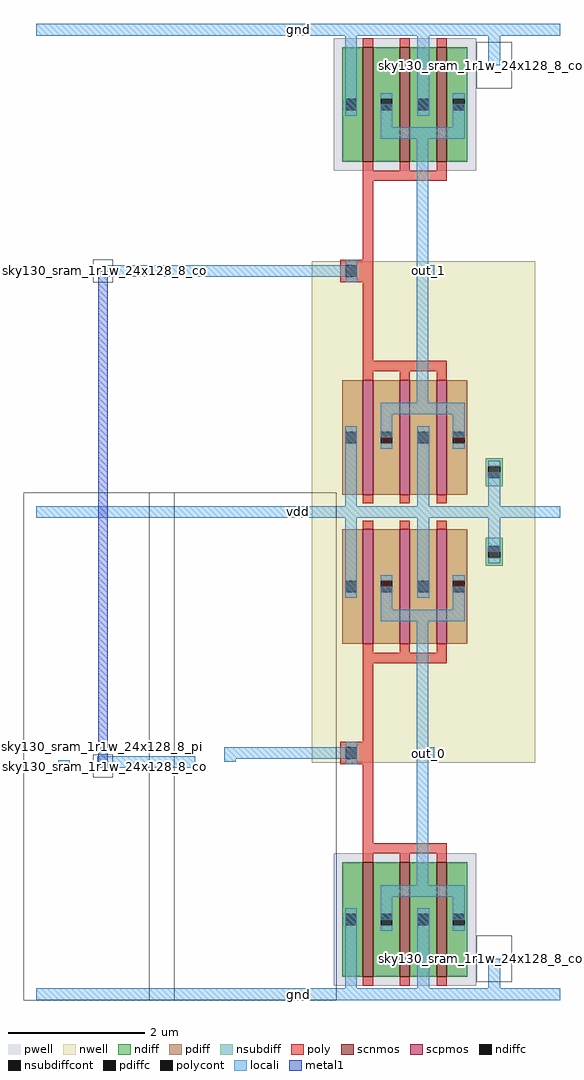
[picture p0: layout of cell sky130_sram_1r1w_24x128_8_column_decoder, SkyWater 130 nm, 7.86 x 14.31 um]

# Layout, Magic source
magic
tech sky130B
magscale 1 2
<< locali >>
rect 0 2828 1536 2862
rect 1133 2121 1167 2155
rect 0 1414 1536 1448
rect 1133 707 1167 741
rect 64 669 98 703
rect 0 0 1536 34
use sky130_sram_1r1w_24x128_8_pinvbuf  sky130_sram_1r1w_24x128_8_pinvbuf_0
transform 1 0 0 0 1 0
box -36 0 1536 2862
<< labels >>
rlabel locali s 81 686 81 686 4 in_0
port 1 nsew
rlabel locali s 1150 724 1150 724 4 out_0
port 2 nsew
rlabel locali s 1150 2138 1150 2138 4 out_1
port 3 nsew
rlabel locali s 768 1431 768 1431 4 vdd
port 4 nsew
rlabel locali s 768 2845 768 2845 4 gnd
port 5 nsew
rlabel locali s 768 17 768 17 4 gnd
port 5 nsew
<< properties >>
string FIXED_BBOX 0 0 1536 2862
<< end >>

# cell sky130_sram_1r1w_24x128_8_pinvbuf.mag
magic
tech sky130B
magscale 1 2
<< locali >>
rect 0 2828 1536 2862
rect 196 2121 925 2155
rect 1133 2121 1167 2155
rect 0 1414 1536 1448
rect 64 669 98 703
rect 179 681 466 715
rect 551 707 942 741
rect 1133 707 1167 741
rect 551 698 585 707
rect 0 0 1536 34
<< metal1 >>
rect 182 686 210 2138
use sky130_sram_1r1w_24x128_8_contact_13  sky130_sram_1r1w_24x128_8_contact_13_0
transform 1 0 167 0 1 653
box 0 0 58 66
use sky130_sram_1r1w_24x128_8_contact_13  sky130_sram_1r1w_24x128_8_contact_13_1
transform 1 0 167 0 1 2105
box 0 0 58 66
use sky130_sram_1r1w_24x128_8_pinv  sky130_sram_1r1w_24x128_8_pinv_0
transform 1 0 0 0 1 17
box -36 -17 404 1471
use sky130_sram_1r1w_24x128_8_pinv_0  sky130_sram_1r1w_24x128_8_pinv_0_0
transform 1 0 368 0 1 17
box -36 -17 512 1471
use sky130_sram_1r1w_24x128_8_pinv_1  sky130_sram_1r1w_24x128_8_pinv_1_0
transform 1 0 844 0 -1 2845
box -36 -17 620 1471
use sky130_sram_1r1w_24x128_8_pinv_1  sky130_sram_1r1w_24x128_8_pinv_1_1
transform 1 0 844 0 1 17
box -36 -17 620 1471
<< labels >>
rlabel locali s 768 1431 768 1431 4 vdd
port 1 nsew
rlabel locali s 768 2845 768 2845 4 gnd
port 2 nsew
rlabel locali s 768 17 768 17 4 gnd
port 2 nsew
rlabel locali s 1150 2138 1150 2138 4 Z
port 3 nsew
rlabel locali s 1150 724 1150 724 4 Zb
port 4 nsew
rlabel locali s 81 686 81 686 4 A
port 5 nsew
<< properties >>
string FIXED_BBOX 0 0 1536 2845
<< end >>

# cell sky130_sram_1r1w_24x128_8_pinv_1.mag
magic
tech sky130B
magscale 1 2
<< nwell >>
rect -36 679 620 1471
<< poly >>
rect 114 740 144 971
rect 81 674 144 740
rect 114 443 144 674
<< locali >>
rect 0 1397 584 1431
rect 62 1162 96 1397
rect 274 1162 308 1397
rect 482 1297 516 1397
rect 64 674 98 740
rect 272 724 306 1128
rect 272 690 323 724
rect 272 286 306 690
rect 62 17 96 186
rect 274 17 308 186
rect 482 17 516 104
rect 0 -17 584 17
use sky130_sram_1r1w_24x128_8_contact_15  sky130_sram_1r1w_24x128_8_contact_15_0
transform 1 0 48 0 1 674
box 0 0 66 66
use sky130_sram_1r1w_24x128_8_contact_28  sky130_sram_1r1w_24x128_8_contact_28_0
transform 1 0 474 0 1 1256
box -59 -43 109 125
use sky130_sram_1r1w_24x128_8_contact_29  sky130_sram_1r1w_24x128_8_contact_29_0
transform 1 0 474 0 1 63
box -26 -26 76 108
use sky130_sram_1r1w_24x128_8_nmos_m3_w1_680_sli_dli_da_p  sky130_sram_1r1w_24x128_8_nmos_m3_w1_680_sli_dli_da_p_0
transform 1 0 54 0 1 51
box -26 -26 392 392
use sky130_sram_1r1w_24x128_8_pmos_m3_w1_680_sli_dli_da_p  sky130_sram_1r1w_24x128_8_pmos_m3_w1_680_sli_dli_da_p_0
transform 1 0 54 0 1 1027
box -59 -56 425 390
<< labels >>
rlabel locali s 81 707 81 707 4 A
port 1 nsew
rlabel locali s 306 707 306 707 4 Z
port 2 nsew
rlabel locali s 292 0 292 0 4 gnd
port 3 nsew
rlabel locali s 292 1414 292 1414 4 vdd
port 4 nsew
<< properties >>
string FIXED_BBOX 0 0 584 1414
<< end >>

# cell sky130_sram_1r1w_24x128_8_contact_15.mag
magic
tech sky130B
<< poly >>
rect 0 25 33 33
rect 0 8 8 25
rect 25 8 33 25
rect 0 0 33 8
<< polycont >>
rect 8 8 25 25
<< locali >>
rect 8 25 25 33
rect 8 0 25 8
<< properties >>
string FIXED_BBOX -10 -10 43 43
<< end >>

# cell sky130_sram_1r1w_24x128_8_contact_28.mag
magic
tech sky130B
magscale 1 2
<< nwell >>
rect -59 -43 109 125
<< nsubdiff >>
rect 0 58 50 82
rect 0 24 8 58
rect 42 24 50 58
rect 0 0 50 24
<< nsubdiffcont >>
rect 8 24 42 58
<< locali >>
rect 8 58 42 74
rect 8 8 42 24
<< properties >>
string FIXED_BBOX -59 -43 109 125
<< end >>

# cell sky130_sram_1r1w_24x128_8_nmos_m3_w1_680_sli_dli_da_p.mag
magic
tech sky130B
magscale 1 2
<< pwell >>
rect -26 -26 392 362
<< scnmos >>
rect 60 0 90 336
rect 168 0 198 336
rect 276 0 306 336
<< ndiff >>
rect 0 0 60 336
rect 90 0 168 336
rect 198 0 276 336
rect 306 0 366 336
<< poly >>
rect 60 362 306 392
rect 60 336 90 362
rect 168 336 198 362
rect 276 336 306 362
rect 60 -26 90 0
rect 168 -26 198 0
rect 276 -26 306 0
<< locali >>
rect 112 235 358 269
rect 8 135 42 201
rect 112 168 146 235
rect 220 135 254 201
rect 324 168 358 235
use sky130_sram_1r1w_24x128_8_contact_10  sky130_sram_1r1w_24x128_8_contact_10_0
transform 1 0 316 0 1 135
box -26 -22 76 88
use sky130_sram_1r1w_24x128_8_contact_10  sky130_sram_1r1w_24x128_8_contact_10_1
transform 1 0 212 0 1 135
box -26 -22 76 88
use sky130_sram_1r1w_24x128_8_contact_10  sky130_sram_1r1w_24x128_8_contact_10_2
transform 1 0 104 0 1 135
box -26 -22 76 88
use sky130_sram_1r1w_24x128_8_contact_10  sky130_sram_1r1w_24x128_8_contact_10_3
transform 1 0 0 0 1 135
box -26 -22 76 88
<< labels >>
rlabel poly s 183 377 183 377 4 G
port 1 nsew
rlabel locali s 237 168 237 168 4 S
port 2 nsew
rlabel locali s 25 168 25 168 4 S
port 2 nsew
rlabel locali s 235 252 235 252 4 D
port 3 nsew
<< properties >>
string FIXED_BBOX -25 -26 391 392
<< end >>

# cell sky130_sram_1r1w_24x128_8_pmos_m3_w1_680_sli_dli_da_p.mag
magic
tech sky130B
magscale 1 2
<< nwell >>
rect -54 -54 420 390
<< scpmos >>
rect 60 0 90 336
rect 168 0 198 336
rect 276 0 306 336
<< pdiff >>
rect 0 0 60 336
rect 90 0 168 336
rect 198 0 276 336
rect 306 0 366 336
<< poly >>
rect 60 336 90 362
rect 168 336 198 362
rect 276 336 306 362
rect 60 -26 90 0
rect 168 -26 198 0
rect 276 -26 306 0
rect 60 -56 306 -26
<< locali >>
rect 8 135 42 201
rect 112 101 146 168
rect 220 135 254 201
rect 324 101 358 168
rect 112 67 358 101
use sky130_sram_1r1w_24x128_8_contact_11  sky130_sram_1r1w_24x128_8_contact_11_0
transform 1 0 316 0 1 135
box -59 -51 109 117
use sky130_sram_1r1w_24x128_8_contact_11  sky130_sram_1r1w_24x128_8_contact_11_1
transform 1 0 212 0 1 135
box -59 -51 109 117
use sky130_sram_1r1w_24x128_8_contact_11  sky130_sram_1r1w_24x128_8_contact_11_2
transform 1 0 104 0 1 135
box -59 -51 109 117
use sky130_sram_1r1w_24x128_8_contact_11  sky130_sram_1r1w_24x128_8_contact_11_3
transform 1 0 0 0 1 135
box -59 -51 109 117
<< labels >>
rlabel poly s 183 -41 183 -41 4 G
port 1 nsew
rlabel locali s 237 168 237 168 4 S
port 2 nsew
rlabel locali s 25 168 25 168 4 S
port 2 nsew
rlabel locali s 235 84 235 84 4 D
port 3 nsew
<< properties >>
string FIXED_BBOX -54 -56 420 390
<< end >>

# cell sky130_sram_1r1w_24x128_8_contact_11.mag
magic
tech sky130B
magscale 1 2
<< nwell >>
rect -59 -51 109 117
<< pdiff >>
rect 0 50 50 62
rect 0 16 8 50
rect 42 16 50 50
rect 0 4 50 16
<< pdiffc >>
rect 8 16 42 50
<< locali >>
rect 8 50 42 66
rect 8 0 42 16
<< properties >>
string FIXED_BBOX -59 -51 109 117
<< end >>

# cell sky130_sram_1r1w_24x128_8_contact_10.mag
magic
tech sky130B
<< pwell >>
rect -13 -11 38 44
<< ndiff >>
rect 0 25 25 31
rect 0 8 4 25
rect 21 8 25 25
rect 0 2 25 8
<< ndiffc >>
rect 4 8 21 25
<< locali >>
rect 4 25 21 33
rect 4 0 21 8
<< properties >>
string FIXED_BBOX -12 -10 37 43
<< end >>
